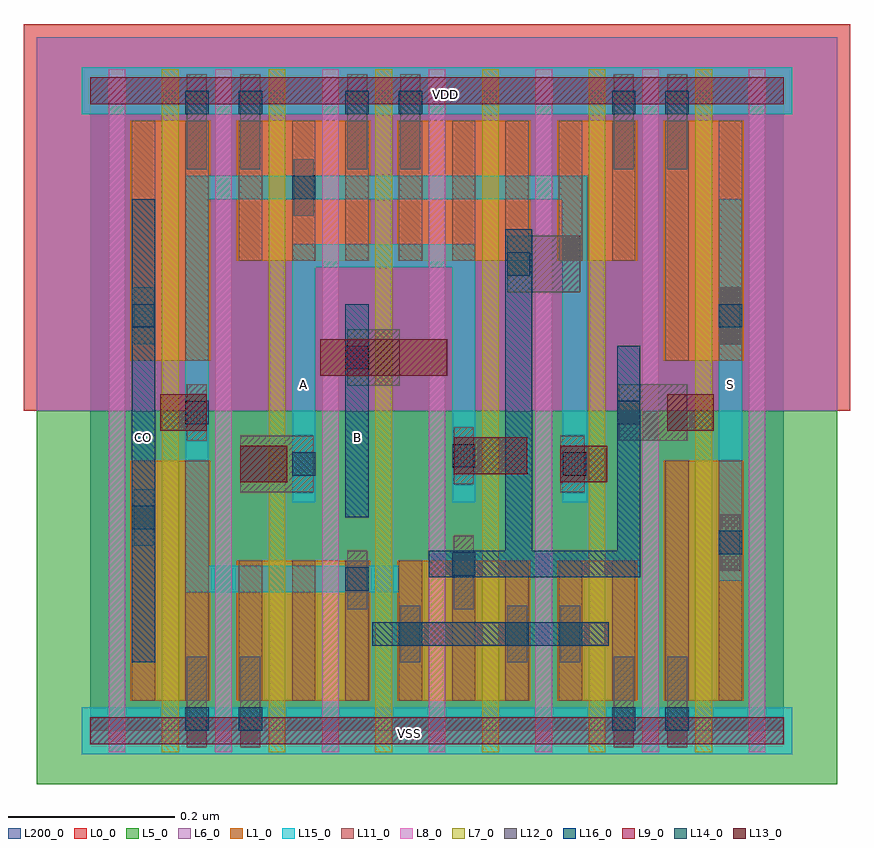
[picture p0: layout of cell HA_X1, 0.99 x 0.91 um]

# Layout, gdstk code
import gdstk
lib = gdstk.Library(unit=1e-6, precision=1e-09)
def R(c, l, rs):  # rectangles x0, y0, x1, y1
    for r in rs: c.add(gdstk.rectangle(r[:2], r[2:], *l))
def A(c, l, x, y, w, h, nx, ny, dx, dy):  # array of equal rectangles
    R(c, l, [(x+i*dx, y+j*dy, x+i*dx+w, y+j*dy+h) for i in range(nx) for j in range(ny)])
def P(c, l, *ps):  # polygons
    for p in ps: c.add(gdstk.Polygon(p, *l))
L0_0 = (0, 0)
L1_0 = (1, 0)
L5_0 = (5, 0)
L6_0 = (6, 0)
L7_0 = (7, 0)
L8_0 = (8, 0)
L9_0 = (9, 0)
L11_0 = (11, 0)
L12_0 = (12, 0)
L13_0 = (13, 0)
L14_0 = (14, 0)
L15_0 = (15, 0)
L16_0 = (16, 0)
L200_0 = (200, 0)

ha_x1 = lib.new_cell('HA_X1')
R(ha_x1, L0_0, [(-0.08,0.384,0.912,0.848)])
R(ha_x1, L1_0, [(0.048,0.036,0.144,0.324), (0.176,0.036,0.336,0.204), (0.368,0.036,0.528,0.204), (0.56,0.036,0.656,0.204), (0.688,0.036,0.784,0.324), (0.048,0.444,0.144,0.732), (0.688,0.444,0.784,0.732), (0.176,0.564,0.336,0.732), (0.368,0.564,0.528,0.732), (0.56,0.564,0.656,0.732)])
R(ha_x1, L5_0, [(-0.064,-0.064,0.896,0.384)])
R(ha_x1, L6_0, [(-0.064,0.384,0.896,0.832)])
A(ha_x1, L7_0, 0.086, -0.026, 0.02, 0.82, 6, 1, 0.128, 0)
A(ha_x1, L8_0, 0.022, -0.026, 0.02, 0.82, 7, 1, 0.128, 0)
R(ha_x1, L9_0, [(0,-0.016,0.832,0.016), (0,0.752,0.832,0.784)])
A(ha_x1, L11_0, 0.178, 0.036, 0.028, 0.168, 8, 2, 0.064, 0.528)
R(ha_x1, L11_0, [(0.05,0.036,0.078,0.324), (0.114,0.036,0.142,0.324), (0.69,0.036,0.718,0.324), (0.754,0.036,0.782,0.324), (0.05,0.444,0.078,0.732), (0.114,0.444,0.142,0.732), (0.69,0.444,0.718,0.732), (0.754,0.444,0.782,0.732)])
R(ha_x1, L12_0, [(0.116,-0.02,0.14,0.089), (0.18,-0.02,0.204,0.089), (0.628,-0.02,0.652,0.089), (0.692,-0.02,0.716,0.089), (0.372,0.082,0.396,0.15), (0.5,0.082,0.524,0.15), (0.564,0.082,0.588,0.15), (0.308,0.146,0.332,0.216), (0.436,0.146,0.46,0.234), (0.756,0.192,0.78,0.26), (0.052,0.222,0.076,0.29), (0.18,0.286,0.268,0.354), (0.564,0.286,0.593,0.354), (0.436,0.296,0.46,0.364), (0.116,0.348,0.14,0.416), (0.634,0.348,0.716,0.416), (0.308,0.414,0.371,0.482), (0.052,0.464,0.076,0.532), (0.756,0.464,0.78,0.532), (0.5,0.526,0.588,0.594), (0.244,0.618,0.268,0.686), (0.116,0.674,0.14,0.788), (0.18,0.674,0.204,0.788), (0.308,0.674,0.332,0.788), (0.372,0.674,0.396,0.788), (0.628,0.674,0.652,0.788), (0.692,0.674,0.716,0.788)])
R(ha_x1, L13_0, [(0.18,0.298,0.236,0.342), (0.564,0.298,0.62,0.342), (0.436,0.308,0.524,0.352), (0.084,0.36,0.14,0.404), (0.692,0.36,0.748,0.404), (0.276,0.426,0.428,0.47)])
R(ha_x1, L14_0, [(0.114,0,0.142,0.028), (0.178,0,0.206,0.028), (0.626,0,0.654,0.028), (0.69,0,0.718,0.028), (0.37,0.102,0.398,0.13), (0.498,0.102,0.526,0.13), (0.562,0.102,0.59,0.13), (0.306,0.168,0.334,0.196), (0.434,0.186,0.462,0.214), (0.754,0.212,0.782,0.24), (0.05,0.242,0.078,0.27), (0.242,0.306,0.27,0.334), (0.567,0.306,0.595,0.334), (0.434,0.316,0.462,0.344), (0.114,0.368,0.142,0.396), (0.632,0.368,0.66,0.396), (0.306,0.434,0.334,0.462), (0.05,0.484,0.078,0.512), (0.754,0.484,0.782,0.512), (0.5,0.546,0.528,0.574), (0.242,0.638,0.27,0.666), (0.114,0.74,0.142,0.768), (0.178,0.74,0.206,0.768), (0.306,0.74,0.334,0.768), (0.37,0.74,0.398,0.768), (0.626,0.74,0.654,0.768), (0.69,0.74,0.718,0.768)])
R(ha_x1, L15_0, [(-0.01,-0.028,0.842,0.028), (0.754,0.18,0.782,0.638), (-0.01,0.74,0.842,0.796)])
P(ha_x1, L15_0, [(0.242,0.274),(0.27,0.274),(0.27,0.556),(0.434,0.556),(0.434,0.274),(0.462,0.274),(0.462,0.584),(0.242,0.584)],
  [(0.142,0.638),(0.566,0.638),(0.566,0.274),(0.596,0.274),(0.596,0.666),(0.114,0.666),(0.114,0.166),(0.37,0.166),(0.37,0.198),(0.142,0.198)])
R(ha_x1, L16_0, [(0.05,0.082,0.078,0.638), (0.338,0.102,0.622,0.13), (0.306,0.256,0.334,0.512)])
P(ha_x1, L16_0, [(0.406,0.184),(0.66,0.184),(0.66,0.462),(0.632,0.462),(0.632,0.216),(0.53,0.216),(0.53,0.602),(0.498,0.602),(0.498,0.216),(0.406,0.216)])
R(ha_x1, L200_0, [(0,0,0.832,0.768)])
ha_x1.add(gdstk.Label('VSS', (0.383,-0.003), layer=15, texttype=20))
ha_x1.add(gdstk.Label('S', (0.768,0.416), layer=15, texttype=20))
ha_x1.add(gdstk.Label('A', (0.256,0.416), layer=15, texttype=20))
ha_x1.add(gdstk.Label('VDD', (0.426,0.763), layer=15, texttype=20))
ha_x1.add(gdstk.Label('CO', (0.064,0.352), layer=16, texttype=20))
ha_x1.add(gdstk.Label('B', (0.32,0.352), layer=16, texttype=20))

lib.write_gds('HA_X1.gds')
